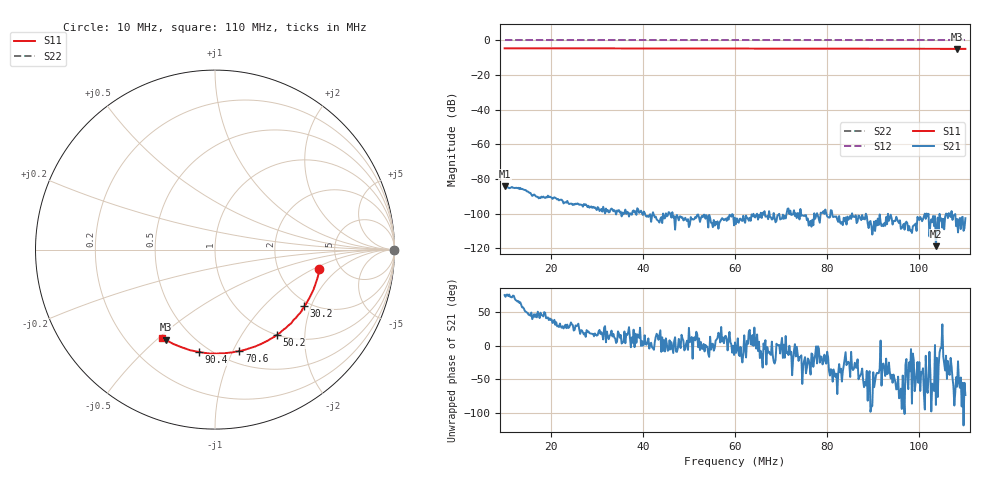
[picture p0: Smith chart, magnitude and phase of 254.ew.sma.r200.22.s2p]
! Anritsu VNA Master:  Model: MS2036C/10/77
! SN:  1601066
! /card0/usr/254.ew.sma.r200.22.s2p
! Existing Calibration Information:
! TYPE:  Current Settings,  Active Cal Settings
! TIME:  12/20/2017 01:11:30 PM,  12/20/2017 12:55:07 PM
! INTERNAL TEMP:  44.3 C,  44.3 C
! # POINTS:  501,  501
! START FREQ:  10.000 MHz,  10.000 MHz
! STOP FREQ:  110.000 MHz,  110.000 MHz
! SOURCE POWER:  High,  High
! IFBW:  100 Hz,  100 Hz
! AVG FACTOR:  1 ,  1
! REF PLANE 1:  0 mm,  0 mm
! REF PLANE 2:  0 mm,  0 mm
! CAL TYPE:  Full S11,  Full S11
! CAL METHOD:  SOLT,  SOLT
! CAL LINE TYPE:  Coax,  Coax
! DUT PORT 1:  N-Conn(F),  N-Conn(F)
! DUT PORT 2:  K-Conn(F),  K-Conn(F)
! CAL STATUS:  OK: Accuracy High,  --
# GHZ S DB R 50.0
! FREQ.GHZ  S11DB  S11A  S21DB  S21A  S12DB  S12A  S22DB  S22A
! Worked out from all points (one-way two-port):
!   501 points, 10 MHz to 110 MHz, reference 50 ohm
!   highest |S21| = -84.26 dB at 10 MHz (marker M1); lowest = -118.7 dB at 103.6 MHz (marker M2)
!   lowest |S11| = -4.9 dB at 108.2 MHz (marker M3), VSWR 3.67, Z = 17.9 - j26.8 ohm
!   |S11| at or under -10 dB: nowhere
!   |S22| runs from 0.0 to 0.0 dB; largest |S21 - S12| = 1
!   S11 on the Smith chart (normalised r, x): 10 MHz: 3.48, -1.17; 30.2 MHz: 1.85, -1.79; 50.2 MHz: 0.99, -1.45; 70.6 MHz: 0.62, -1.06; 90.4 MHz: 0.44, -0.76; 110 MHz: 0.35, -0.51
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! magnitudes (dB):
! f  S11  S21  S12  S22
! 10 MHz  -4.6  -84.3  0.0  0.0
! 26.8 MHz  -4.6  -95.1  0.0  0.0
! 30.2 MHz  -4.6  -96.2  0.0  0.0
! 33.2 MHz  -4.6  -97.0  0.0  0.0
! 35.6 MHz  -4.6  -99.3  0.0  0.0
! 37.2 MHz  -4.6  -99.7  0.0  0.0
! 38.6 MHz  -4.6  -100.6  0.0  0.0
! 40.8 MHz  -4.6  -101.6  0.0  0.0
! 43.4 MHz  -4.6  -104.2  0.0  0.0
! 46 MHz  -4.6  -100.5  0.0  0.0
! 47.8 MHz  -4.6  -103.8  0.0  0.0
! 50.2 MHz  -4.6  -106.4  0.0  0.0
! 60 MHz  -4.7  -102.4  0.0  0.0
! 70.6 MHz  -4.7  -102.9  0.0  0.0
! 76.8 MHz  -4.7  -103.4  0.0  0.0
! 80 MHz  -4.8  -101.5  0.0  0.0
! 84.6 MHz  -4.7  -103.5  0.0  0.0
! 90.4 MHz  -4.8  -109.9  0.0  0.0
! 93.4 MHz  -4.8  -104.1  0.0  0.0
! 103.6 MHz  -4.8  -118.7  0.0  0.0
! 108.2 MHz  -4.9  -103.0  0.0  0.0
! 110 MHz  -4.8  -102.5  0.0  0.0
